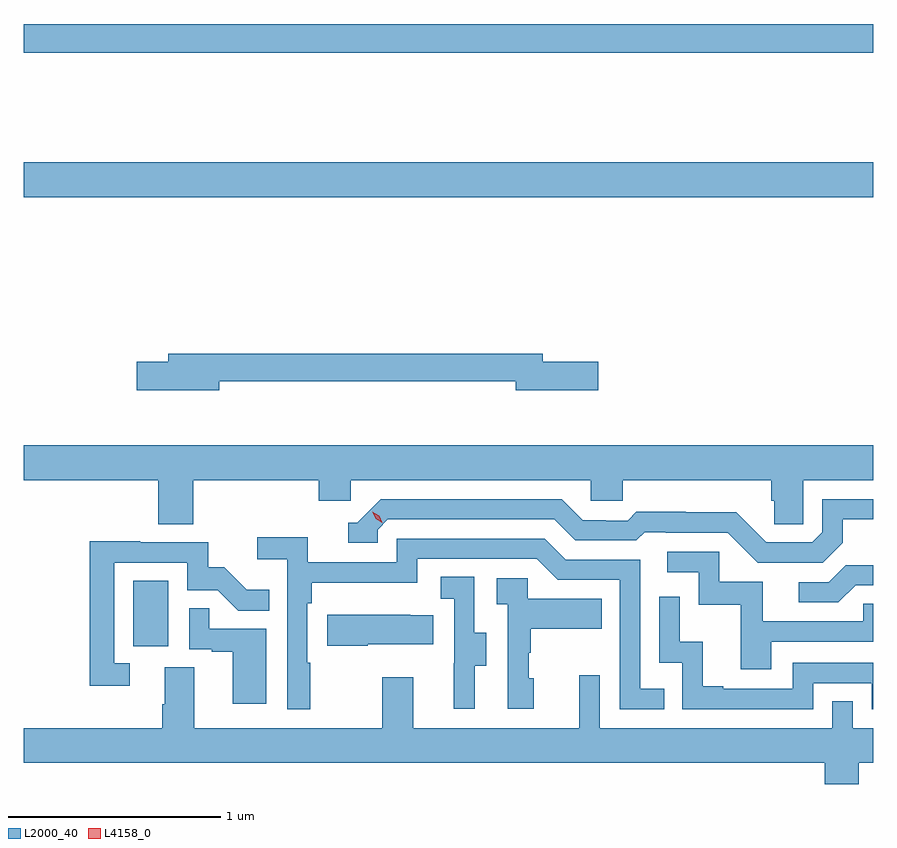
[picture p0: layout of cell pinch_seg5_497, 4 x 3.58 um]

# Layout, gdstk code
import gdstk
lib = gdstk.Library(unit=1e-6, precision=1e-09)
def R(c, l, rs):  # rectangles x0, y0, x1, y1
    for r in rs: c.add(gdstk.rectangle(r[:2], r[2:], *l))
def P(c, l, *ps):  # polygons
    for p in ps: c.add(gdstk.Polygon(p, *l))
L2000_40 = (2000, 40)
L4158_0 = (4158, 0)

pinch_seg5_497 = lib.new_cell('pinch_seg5_497')
R(pinch_seg5_497, L2000_40, [(903.248,843.99,903.412,844.297), (902.732,846.104,906.732,846.268), (902.732,846.784,906.732,846.92)])
P(pinch_seg5_497, L2000_40, [(903.652,845.238),(905.048,845.238),(905.048,845.195),(905.437,845.195),(905.437,845.33),(905.176,845.33),(905.176,845.366),(903.413,845.366),(903.413,845.33),(903.264,845.33),(903.264,845.195),(903.652,845.195)],
  [(903.53,844.772),(904.121,844.772),(904.121,844.674),(904.272,844.674),(904.272,844.772),(905.403,844.772),(905.403,844.674),(905.553,844.674),(905.553,844.772),(906.251,844.772),(906.251,844.674),(906.265,844.674),(906.265,844.564),(906.402,844.564),(906.402,844.772),(906.732,844.772),(906.732,844.936),(902.732,844.936),(902.732,844.772),(903.365,844.772),(903.365,844.564),(903.53,844.564)],
  [(906.589,844.477),(906.589,844.587),(906.732,844.587),(906.732,844.683),(906.492,844.683),(906.492,844.527),(906.444,844.479),(906.228,844.479),(906.086,844.621),(905.85,844.621),(905.85,844.624),(905.617,844.624),(905.575,844.581),(905.472,844.581),(905.472,844.584),(905.365,844.584),(905.266,844.683),(904.413,844.683),(904.302,844.572),(904.259,844.572),(904.259,844.476),(904.398,844.476),(904.398,844.539),(904.446,844.587),(905.229,844.587),(905.328,844.488),(905.617,844.488),(905.656,844.527),(905.755,844.527),(905.755,844.524),(906.048,844.524),(906.189,844.383),(906.495,844.383)],
  [(904.081,843.911),(904.068,843.911),(904.068,844.193),(904.088,844.193),(904.088,844.289),(904.584,844.289),(904.584,844.401),(905.148,844.401),(905.247,844.302),(905.538,844.302),(905.538,843.693),(905.747,843.693),(905.747,843.789),(905.634,843.789),(905.634,844.398),(905.284,844.398),(905.185,844.497),(904.488,844.497),(904.488,844.386),(904.07,844.386),(904.07,844.502),(903.831,844.502),(903.831,844.4),(903.972,844.4),(903.972,843.693),(904.081,843.693)],
  [(903.232,843.909),(903.159,843.909),(903.159,844.383),(903.501,844.383),(903.501,844.254),(903.645,844.254),(903.743,844.156),(903.887,844.156),(903.887,844.255),(903.783,844.255),(903.676,844.362),(903.6,844.362),(903.6,844.479),(903.281,844.479),(903.281,844.484),(903.043,844.484),(903.043,843.804),(903.232,843.804)],
  [(906.253,844.011),(906.732,844.011),(906.732,844.191),(906.685,844.191),(906.685,844.107),(906.211,844.107),(906.211,844.293),(906.006,844.293),(906.006,844.434),(905.763,844.434),(905.763,844.338),(905.91,844.338),(905.91,844.185),(906.109,844.185),(906.109,843.882),(906.253,843.882)],
  [(906.649,844.278),(906.732,844.278),(906.732,844.37),(906.602,844.37),(906.522,844.29),(906.381,844.29),(906.381,844.197),(906.568,844.197)],
  [(904.855,843.898),(904.909,843.898),(904.909,844.053),(904.854,844.053),(904.854,844.316),(904.695,844.316),(904.695,844.213),(904.758,844.213),(904.758,843.909),(904.757,843.909),(904.757,843.696),(904.855,843.696)],
  [(905.134,843.84),(905.109,843.84),(905.109,843.959),(905.119,843.959),(905.119,844.073),(905.453,844.073),(905.453,844.213),(905.106,844.213),(905.106,844.311),(904.959,844.311),(904.959,844.187),(905.01,844.187),(905.01,843.696),(905.134,843.696)],
  [(906.45,843.816),(906.726,843.816),(906.726,843.693),(906.732,843.693),(906.732,843.912),(906.354,843.912),(906.354,843.789),(906.025,843.789),(906.025,843.802),(905.93,843.802),(905.93,844.01),(905.82,844.01),(905.82,844.222),(905.724,844.222),(905.724,843.912),(905.832,843.912),(905.832,843.693),(906.45,843.693)],
  [(903.874,844.071),(903.605,844.071),(903.605,844.169),(903.51,844.169),(903.51,843.975),(903.617,843.975),(903.617,843.963),(903.716,843.963),(903.716,843.72),(903.874,843.72)],
  [(904.351,843.998),(904.661,843.998),(904.661,844.135),(904.553,844.135),(904.553,844.138),(904.16,844.138),(904.16,843.991),(904.351,843.991)],
  [(904.42,843.844),(904.42,843.604),(903.535,843.604),(903.535,843.89),(903.395,843.89),(903.395,843.716),(903.383,843.716),(903.383,843.604),(902.732,843.604),(902.732,843.44),(906.503,843.44),(906.503,843.341),(906.663,843.341),(906.663,843.44),(906.732,843.44),(906.732,843.604),(906.636,843.604),(906.636,843.731),(906.54,843.731),(906.54,843.604),(905.445,843.604),(905.445,843.853),(905.348,843.853),(905.348,843.604),(904.567,843.604),(904.567,843.844)])
P(pinch_seg5_497, L4158_0, [(904.42,844.571),(904.39,844.591),(904.374,844.624),(904.374,844.624),(904.374,844.624),(904.405,844.605),(904.421,844.572),(904.421,844.571)])

lib.write_gds('pinch_seg5_497.gds')
